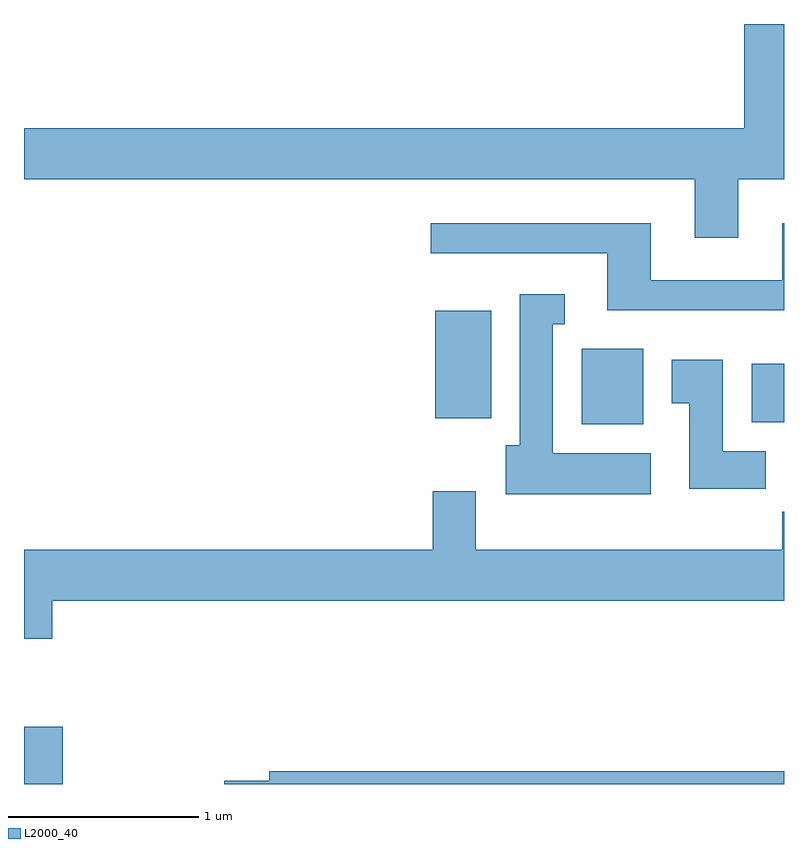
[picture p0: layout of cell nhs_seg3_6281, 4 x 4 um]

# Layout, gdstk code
import gdstk
lib = gdstk.Library(unit=1e-6, precision=1e-09)
def R(c, l, rs):  # rectangles x0, y0, x1, y1
    for r in rs: c.add(gdstk.rectangle(r[:2], r[2:], *l))
def P(c, l, *ps):  # polygons
    for p in ps: c.add(gdstk.Polygon(p, *l))
L2000_40 = (2000, 40)

nhs_seg3_6281 = lib.new_cell('nhs_seg3_6281')
R(nhs_seg3_6281, L2000_40, [(369.611,1173.892,369.814,1174.194), (372.546,1175.786,372.869,1176.184), (373.441,1175.796,373.611,1176.104), (371.776,1175.816,372.069,1176.384)])
P(nhs_seg3_6281, L2000_40, [(373.369,1177.076),(373.611,1177.076),(373.611,1177.892),(373.401,1177.892),(373.401,1177.344),(369.611,1177.344),(369.611,1177.076),(373.141,1177.076),(373.141,1176.766),(373.369,1176.766)],
  [(373.611,1176.844),(373.601,1176.844),(373.601,1176.544),(372.909,1176.544),(372.909,1176.844),(371.753,1176.844),(371.753,1176.686),(372.681,1176.686),(372.681,1176.386),(373.611,1176.386)],
  [(372.909,1175.634),(372.394,1175.634),(372.394,1176.311),(372.458,1176.311),(372.458,1176.469),(372.221,1176.469),(372.221,1175.674),(372.146,1175.674),(372.146,1175.416),(372.909,1175.416)],
  [(373.514,1175.644),(373.289,1175.644),(373.289,1176.124),(373.021,1176.124),(373.021,1175.896),(373.111,1175.896),(373.111,1175.446),(373.514,1175.446)],
  [(369.759,1174.856),(373.611,1174.856),(373.611,1175.324),(373.601,1175.324),(373.601,1175.124),(371.989,1175.124),(371.989,1175.434),(371.761,1175.434),(371.761,1175.124),(369.611,1175.124),(369.611,1174.656),(369.759,1174.656)],
  [(373.611,1173.959),(370.901,1173.959),(370.901,1173.909),(370.666,1173.909),(370.666,1173.892),(373.611,1173.892)])

lib.write_gds('nhs_seg3_6281.gds')
